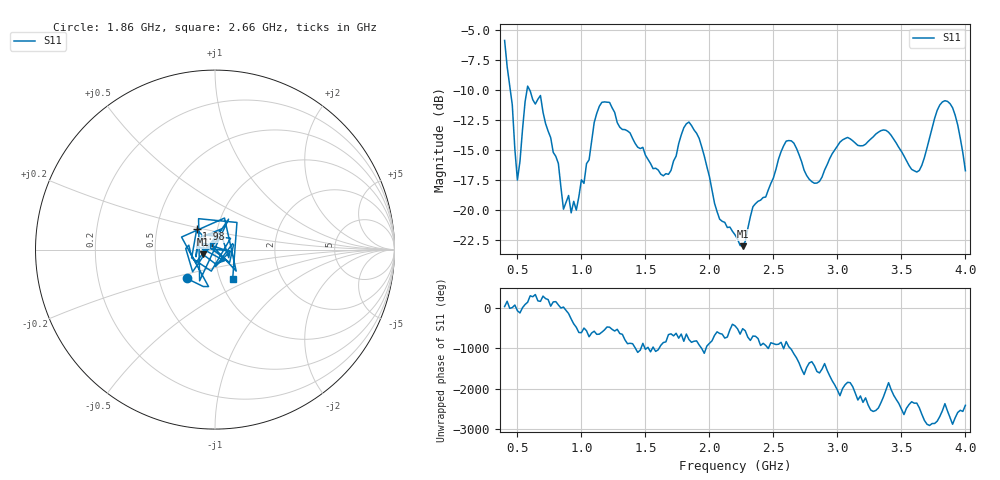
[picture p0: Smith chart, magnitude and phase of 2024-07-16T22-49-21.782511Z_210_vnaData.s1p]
!Created with skrf (http://scikit-rf.org).
# Hz S RI R 50.0
!freq ReS11 ImS11
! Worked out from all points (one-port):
!   181 points, 400 MHz to 4 GHz, reference 50 ohm
!   lowest |S11| = -23.0 dB at 2.26 GHz (marker M1), VSWR 1.15, Z = 43.7 - j2.23 ohm
!   |S11| at or under -10 dB: 444.4 MHz to 574.9 MHz (130.5 MHz wide, 25.6 % of centre); 596.6 MHz to end of sweep
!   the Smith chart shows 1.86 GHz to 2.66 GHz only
!   S11 on the Smith chart (normalised r, x): 1.86 GHz: 0.69, -0.23; 1.98 GHz: 0.80, +0.18; 2.66 GHz: 1.15, -0.39
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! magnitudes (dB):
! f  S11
! 400 MHz  -5.9
! 460 MHz  -11.2
! 500 MHz  -17.5
! 580 MHz  -9.7
! 680 MHz  -10.4
! 820 MHz  -16.1
! 860 MHz  -19.9
! 900 MHz  -18.8
! 960 MHz  -20.0
! 1.16 GHz  -11.0
! 1.3 GHz  -13.1
! 1.64 GHz  -17.1
! 1.76 GHz  -14.5
! 1.86 GHz  -12.9
! 1.98 GHz  -16.4
! 2.08 GHz  -20.7
! 2.2 GHz  -22.0
! 2.26 GHz  -23.0
! 2.34 GHz  -19.7
! 2.66 GHz  -14.4
! 2.84 GHz  -17.7
! 3.1 GHz  -14.1
! 3.38 GHz  -13.4
! 3.56 GHz  -16.3
! 3.64 GHz  -16.7
! 3.84 GHz  -10.9
! 3.92 GHz  -12.1
! 4 GHz  -16.7
